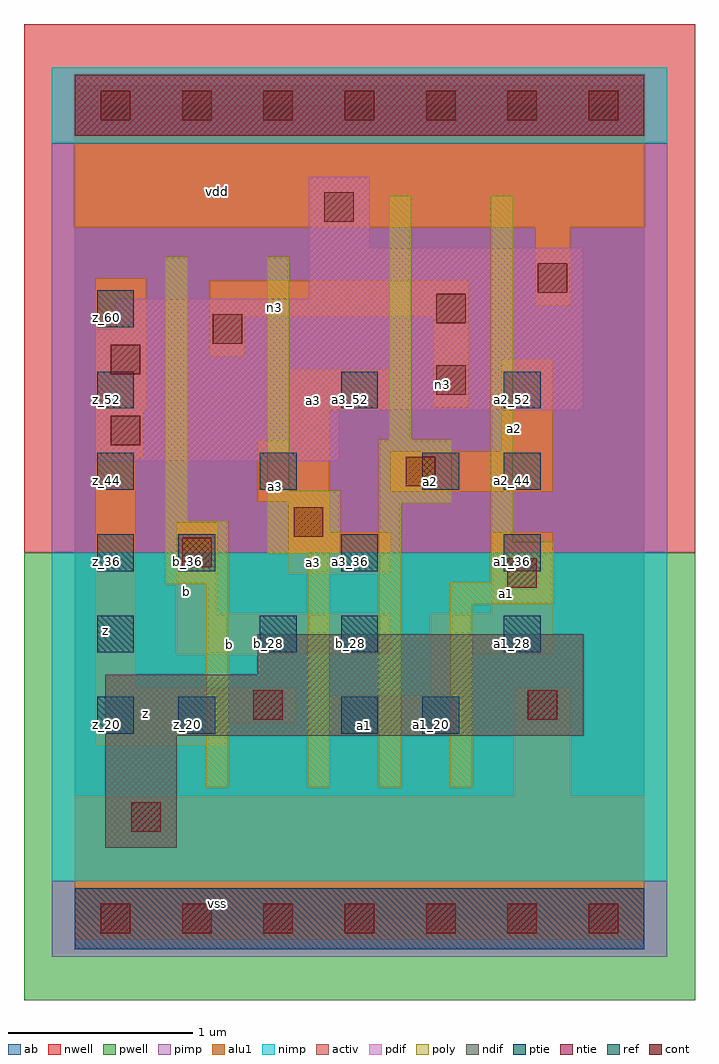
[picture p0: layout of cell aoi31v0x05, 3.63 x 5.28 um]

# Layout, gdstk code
import gdstk
lib = gdstk.Library(unit=1e-6, precision=2.5e-09)
def R(c, l, rs):  # rectangles x0, y0, x1, y1
    for r in rs: c.add(gdstk.rectangle(r[:2], r[2:], *l))
def A(c, l, x, y, w, h, nx, ny, dx, dy):  # array of equal rectangles
    R(c, l, [(x+i*dx, y+j*dy, x+i*dx+w, y+j*dy+h) for i in range(nx) for j in range(ny)])
ndif = (3, 0)
pdif = (4, 0)
ntie = (5, 0)
ptie = (6, 0)
ref = (24, 0)
cont = (25, 0)
pwell = (41, 0)
nwell = (42, 0)
activ = (43, 0)
pimp = (44, 0)
nimp = (45, 0)
poly = (46, 0)
alu1 = (49, 0)
ab = (63, 0)

aoi31v0x05 = lib.new_cell('aoi31v0x05')
R(aoi31v0x05, ndif, [(0.165,0.385,0.55,0.99), (0.165,0.99,2.75,1.32), (0.99,1.32,2.75,1.54)])
R(aoi31v0x05, pdif, [(0.11,2.475,1.43,2.75), (0.11,2.75,2.75,3.19), (0.22,3.19,2.75,3.355), (1.265,3.355,2.75,3.63), (1.265,3.63,1.595,4.015)])
R(aoi31v0x05, ntie, [(0,4.235,3.08,4.565)])
R(aoi31v0x05, ptie, [(0,-0.165,3.08,0.165)])
A(aoi31v0x05, ref, 0.12, 1, 0.2, 0.2, 1, 3, 0, 0.44)
A(aoi31v0x05, ref, 0.56, 1.88, 0.2, 0.2, 3, 1, 0.88, 0)
A(aoi31v0x05, ref, 0.12, 2.32, 0.2, 0.2, 3, 1, 0.88, 0)
R(aoi31v0x05, ref, [(0.56,1,0.76,1.2), (1.44,1,1.64,1.2), (1.88,1,2.08,1.2), (1,1.44,1.2,1.64), (1.44,1.44,1.64,1.64), (2.32,1.44,2.52,1.64), (2.32,2.32,2.52,2.52), (0.12,2.76,0.32,2.96), (1.44,2.76,1.64,2.96), (2.32,2.76,2.52,2.96), (0.12,3.2,0.32,3.4)])
A(aoi31v0x05, cont, 0.14, -0.08, 0.16, 0.16, 7, 2, 0.44, 4.4)
R(aoi31v0x05, cont, [(0.305,0.47,0.465,0.63), (0.965,1.075,1.125,1.235), (2.45,1.075,2.61,1.235), (2.34,1.79,2.5,1.95), (0.58,1.9,0.74,2.06), (1.185,2.065,1.345,2.225), (1.79,2.34,1.95,2.5), (0.195,2.56,0.355,2.72), (1.955,2.835,2.115,2.995), (0.195,2.945,0.355,3.105), (0.745,3.11,0.905,3.27), (1.955,3.22,2.115,3.38), (2.505,3.385,2.665,3.545), (1.35,3.77,1.51,3.93)])
R(aoi31v0x05, pwell, [(-0.275,-0.44,3.355,1.98)])
R(aoi31v0x05, nwell, [(-0.275,1.98,3.355,4.84)])
R(aoi31v0x05, activ, [(0,-0.165,3.08,0.165), (0.165,0.385,0.55,0.99), (0.165,0.99,2.75,1.32), (0.99,1.32,2.75,1.54), (0.11,2.475,1.43,2.75), (0.11,2.75,2.75,3.19), (0.22,3.19,2.75,3.355), (1.265,3.355,2.75,3.63), (1.265,3.63,1.595,4.015), (0,4.235,3.08,4.565)])
R(aoi31v0x05, pimp, [(-0.125,-0.205,3.205,0.205), (-0.125,1.98,3.205,4.195)])
R(aoi31v0x05, nimp, [(-0.125,0.205,3.205,1.98), (-0.125,4.195,3.205,4.605)])
R(aoi31v0x05, poly, [(0.71,0.71,0.83,1.81), (1.26,0.71,1.38,1.975), (1.645,0.71,1.765,2.25), (2.03,0.71,2.15,1.7), (2.03,1.7,2.59,1.82), (0.49,1.81,0.83,2.15), (2.25,1.82,2.59,2.04), (1.04,1.975,1.435,2.315), (2.25,2.04,2.37,3.91), (0.49,2.15,0.61,3.58), (1.645,2.25,2.04,2.59), (1.04,2.315,1.16,3.58), (1.7,2.59,1.82,3.91)])
R(aoi31v0x05, alu1, [(0,-0.11,3.08,0.66), (2.38,0.66,2.68,1.25), (0.11,0.935,0.825,1.06), (1.375,0.99,2.145,1.21), (0.11,1.06,1.195,1.25), (1.925,1.21,2.145,1.43), (0.11,1.25,0.33,2.49), (0.55,1.43,1.705,1.65), (1.925,1.43,2.585,1.65), (0.55,1.65,0.77,2.145), (2.255,1.65,2.585,2.09), (1.155,1.87,1.705,2.09), (1.155,2.09,1.375,2.255), (0.99,2.255,1.375,2.585), (1.705,2.31,2.585,2.53), (0.11,2.49,0.37,2.75), (2.31,2.53,2.585,3.025), (1.155,2.585,1.375,2.75), (0.11,2.75,0.385,3.465), (1.155,2.75,1.705,2.97), (1.94,2.765,2.13,3.26), (0.73,3.04,0.92,3.26), (0.73,3.26,2.13,3.45), (2.49,3.315,2.68,3.74), (0,3.74,3.08,4.51)])
R(aoi31v0x05, ab, [(0,0,3.08,4.4)])
aoi31v0x05.add(gdstk.Label('vss', (0.77,0.0825), layer=49, texttype=0))
aoi31v0x05.add(gdstk.Label('a1', (1.5675,1.045), layer=49, texttype=0))
aoi31v0x05.add(gdstk.Label('z', (0.38,1.1075), layer=49, texttype=0))
aoi31v0x05.add(gdstk.Label('b', (0.8375,1.485), layer=49, texttype=0))
aoi31v0x05.add(gdstk.Label('a1', (2.3375,1.76), layer=49, texttype=0))
aoi31v0x05.add(gdstk.Label('a3', (1.2925,1.925), layer=49, texttype=0))
aoi31v0x05.add(gdstk.Label('b', (0.605,1.7725), layer=49, texttype=0))
aoi31v0x05.add(gdstk.Label('a2', (1.925,2.365), layer=49, texttype=0))
aoi31v0x05.add(gdstk.Label('a2', (2.3775,2.6525), layer=49, texttype=0))
aoi31v0x05.add(gdstk.Label('a3', (1.085,2.3375), layer=49, texttype=0))
aoi31v0x05.add(gdstk.Label('z', (0.165,1.56), layer=49, texttype=0))
aoi31v0x05.add(gdstk.Label('n3', (1.9875,2.8875), layer=49, texttype=0))
aoi31v0x05.add(gdstk.Label('a3', (1.2925,2.805), layer=49, texttype=0))
aoi31v0x05.add(gdstk.Label('n3', (1.08,3.3075), layer=49, texttype=0))
aoi31v0x05.add(gdstk.Label('vdd', (0.77,3.9325), layer=49, texttype=0))
aoi31v0x05.add(gdstk.Label('z_20', (0.61,1.05), layer=24, texttype=0))
aoi31v0x05.add(gdstk.Label('b_36', (0.61,1.93), layer=24, texttype=0))
aoi31v0x05.add(gdstk.Label('b_28', (1.05,1.49), layer=24, texttype=0))
aoi31v0x05.add(gdstk.Label('a3_44', (1.05,2.37), layer=24, texttype=0))
aoi31v0x05.add(gdstk.Label('a1_20', (1.49,1.05), layer=24, texttype=0))
aoi31v0x05.add(gdstk.Label('b_28', (1.49,1.49), layer=24, texttype=0))
aoi31v0x05.add(gdstk.Label('a3_36', (1.49,1.93), layer=24, texttype=0))
aoi31v0x05.add(gdstk.Label('a3_52', (1.49,2.81), layer=24, texttype=0))
aoi31v0x05.add(gdstk.Label('a1_20', (1.93,1.05), layer=24, texttype=0))
aoi31v0x05.add(gdstk.Label('a2_44', (1.93,2.37), layer=24, texttype=0))
aoi31v0x05.add(gdstk.Label('z_20', (0.17,1.05), layer=24, texttype=0))
aoi31v0x05.add(gdstk.Label('z_28', (0.17,1.49), layer=24, texttype=0))
aoi31v0x05.add(gdstk.Label('z_36', (0.17,1.93), layer=24, texttype=0))
aoi31v0x05.add(gdstk.Label('z_44', (0.17,2.37), layer=24, texttype=0))
aoi31v0x05.add(gdstk.Label('z_52', (0.17,2.81), layer=24, texttype=0))
aoi31v0x05.add(gdstk.Label('z_60', (0.17,3.25), layer=24, texttype=0))
aoi31v0x05.add(gdstk.Label('a1_28', (2.37,1.49), layer=24, texttype=0))
aoi31v0x05.add(gdstk.Label('a1_36', (2.37,1.93), layer=24, texttype=0))
aoi31v0x05.add(gdstk.Label('a2_44', (2.37,2.37), layer=24, texttype=0))
aoi31v0x05.add(gdstk.Label('a2_52', (2.37,2.81), layer=24, texttype=0))

lib.write_gds('aoi31v0x05.gds')
